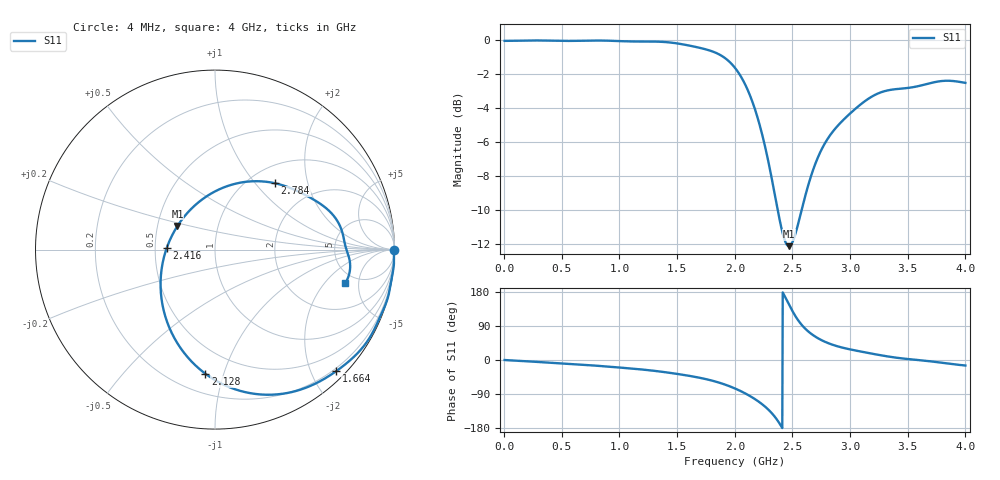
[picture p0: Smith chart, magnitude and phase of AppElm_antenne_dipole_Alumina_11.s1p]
! TOUCHSTONE file generated by CST MICROWAVE STUDIO
! Date and time: Sat May 14 10:03:03 2022
! Project name: AppElm_antenne_dipole_Alumina.cst
! Parameters = {L=33; e=0.035; f=2.45e+09; h=1.6; i=1; l1=2; lambda=122.449; ls=30; wl=1.7; ws=80}
! Header version: 2018
! Port assignment regex: !\s*Touchstone port\s*([0-9]+)\s*=\s*(CST MWS port|CST DS port)\s*([0-9]+|Zmin|Zmax)\s*\(\"(.*)\"\)(\s*mode\s*([0-9]+))?.*
! Touchstone port assignment:
! Touchstone port 1 = CST MWS port 1 ("")
# GHz S MA R 50
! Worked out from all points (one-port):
!   1000 points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, 4 MHz to 4 GHz, reference 50 ohm
!   lowest |S11| = -12.1 dB at 2.468 GHz (marker M1), VSWR 1.66, Z = 31.7 + j8.89 ohm
!   |S11| at or under -10 dB: 2.372 GHz to 2.58 GHz (207.9 MHz wide, 8.4 % of centre)
!   S11 on the Smith chart (normalised r, x): 4 MHz: open; 1.664 GHz: 0.15, -2.41; 2.128 GHz: 0.33, -0.87; 2.416 GHz: 0.58, +0.01; 2.784 GHz: 1.30, +1.28; 4 GHz: 3.96, -3.40
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0.004  0.9972 -0.1
0.504  0.9971 -9.1
1.004  0.9955 -20.0
1.3  0.9924 -28.5
1.504  0.9797 -36.9
1.664  0.9566 -45.0
1.76  0.939 -51.2
1.844  0.9169 -57.9
1.932  0.8783 -66.7
2.004  0.8284 -75.4
2.068  0.7668 -84.6
2.128  0.6936 -94.4
2.208  0.5757 -110.0
2.28  0.4576 -127.7
2.348  0.3497 -150.1
2.416  0.2693 178.2
2.468  0.2471 147.8
2.504  0.2557 127.1
2.568  0.3044 97.3
2.632  0.3688 76.8
2.7  0.4338 61.3
2.784  0.4987 47.8
2.88  0.5538 37.1
3.004  0.6105 27.7
3.252  0.6998 13.2
3.504  0.7244 2.4
3.788  0.7587 -6.9
4  0.7496 -14.5
